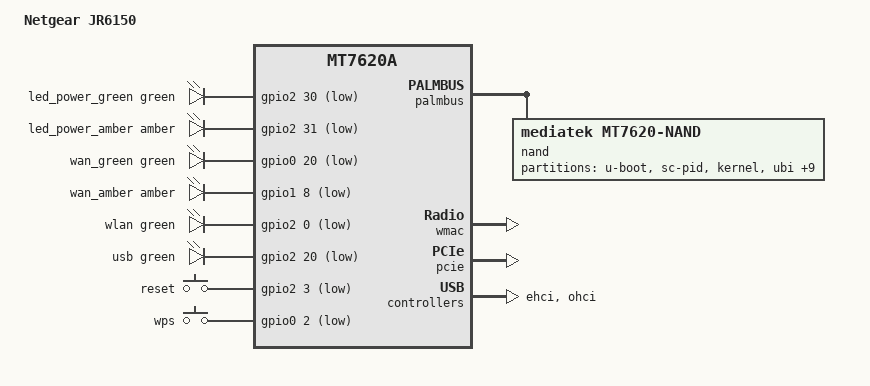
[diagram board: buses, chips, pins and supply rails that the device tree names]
// SPDX-License-Identifier: GPL-2.0-or-later OR MIT

#include "mt7620a.dtsi"

#include <dt-bindings/gpio/gpio.h>
#include <dt-bindings/input/input.h>
#include <dt-bindings/leds/common.h>
#include <dt-bindings/mtd/partitions/uimage.h>

/ {
	compatible = "netgear,jr6150", "ralink,mt7620a-soc";
	model = "Netgear JR6150";

	aliases {
		led-boot = &led_power_green;
		led-failsafe = &led_power_amber;
		led-running = &led_power_green;
		led-upgrade = &led_power_amber;
		label-mac-device = &ethernet;
	};

	chosen {
		bootargs = "console=ttyS0,57600";
	};

	leds {
		compatible = "gpio-leds";

		led_power_green: power_green {
			function = LED_FUNCTION_POWER;
			color = <LED_COLOR_ID_GREEN>;
			gpios = <&gpio2 30 GPIO_ACTIVE_LOW>; /* GPIO 70 */
		};

		led_power_amber: power_amber {
			function = LED_FUNCTION_POWER;
			color = <LED_COLOR_ID_AMBER>;
			gpios = <&gpio2 31 GPIO_ACTIVE_LOW>; /* GPIO 71 */
		};

		wan_green {
			function = LED_FUNCTION_WAN;
			color = <LED_COLOR_ID_GREEN>;
			gpios = <&gpio0 20 GPIO_ACTIVE_LOW>; /* GPIO 20 */
		};

		wan_amber {
			function = LED_FUNCTION_WAN;
			color = <LED_COLOR_ID_AMBER>;
			gpios = <&gpio1 8 GPIO_ACTIVE_LOW>; /* GPIO 30 */
		};

		wlan {
			function = LED_FUNCTION_WLAN;
			color = <LED_COLOR_ID_GREEN>;
			gpios = <&gpio2 0 GPIO_ACTIVE_LOW>; /* GPIO 40 */
			linux,default-trigger = "phy0tpt";
		};

		usb {
			function = LED_FUNCTION_USB;
			color = <LED_COLOR_ID_GREEN>;
			gpios = <&gpio2 20 GPIO_ACTIVE_LOW>; /* GPIO 60 */
			trigger-sources = <&ohci_port1>, <&ehci_port1>;
			linux,default-trigger = "usbport";
		};
	};

	keys {
		compatible = "gpio-keys";

		/*
		 * From power-button.c: SURF_POWER_BUTTON_MASK = 0x8
		 * (bit 3) checked on PIODATA2 register (offset 0x60).
		 * If PIODATA2 maps to GPIO bank 2 (GPIO 40-71), then
		 * the reset/power button is GPIO 43 (gpio2 pin 3).
		 *
		 * NOTE: power-button.c uses non-standard base addresses
		 * (0x300600 vs MT7620's 0x10000600), so this mapping
		 * may be legacy/incorrect. WPS button GPIO not found
		 * in source. Both MUST be verified on actual hardware.
		 */
		reset {
			label = "reset";
			gpios = <&gpio2 3 GPIO_ACTIVE_LOW>; /* GPIO 43 — bit 3 of PIODATA2 */
			linux,code = <KEY_RESTART>;
		};

		wps {
			label = "wps";
			gpios = <&gpio0 2 GPIO_ACTIVE_LOW>; /* TODO: verify on hardware */
			linux,code = <KEY_WPS_BUTTON>;
		};
	};
};

&palmbus {
	nand@810 {
		compatible = "mediatek,mt7620-nand";
		reg = <0x810 0xb0>;

		clocks = <&sysc MT7620_CLK_SPI1>;

		resets = <&sysc 18>;
		reset-names = "nand";

		status = "okay";

		#address-cells = <1>;
		#size-cells = <1>;

		partitions {
			compatible = "fixed-partitions";
			#address-cells = <1>;
			#size-cells = <1>;

			partition@0 {
				label = "u-boot";
				reg = <0x0 0x100000>;
				read-only;
			};

			partition@100000 {
				label = "sc-pid";
				reg = <0x100000 0x100000>;
				read-only;
			};

			partition@200000 {
				label = "kernel";
				reg = <0x200000 0x400000>;
			};

			partition@600000 {
				label = "ubi";
				reg = <0x600000 0x1c00000>;
			};

			/*
			 * Stock firmware layout for reference:
			 *   0x2200000 - 0x2e00000: Language UI packages (6x 2MB)
			 *   0x2e00000 - 0x2f00000: WiFi calibration data
			 *   0x2f00000 - 0x3000000: SC Private Data
			 *   0x3000000+           : Nvram / Reserved blocks
			 */

			partition@2200000 {
				label = "lang";
				reg = <0x2200000 0xc00000>;
				read-only;
			};

			factory: partition@2e00000 {
				label = "factory";
				reg = <0x2e00000 0x100000>;
				read-only;

				nvmem-layout {
					compatible = "fixed-layout";
					#address-cells = <1>;
					#size-cells = <1>;

					eeprom_2g: eeprom@0 {
						reg = <0x0 0x200>;
					};

					eeprom_5g: eeprom@8000 {
						reg = <0x8000 0x200>;
					};

					macaddr_2g: macaddr@4 {
						reg = <0x4 0x6>;
					};

					macaddr_5g: macaddr@8004 {
						reg = <0x8004 0x6>;
					};
				};
			};

			partition@2f00000 {
				label = "sc-private";
				reg = <0x2f00000 0x100000>;
				read-only;
			};

			partition@3000000 {
				label = "pot";
				reg = <0x3000000 0x200000>;
			};

			partition@3200000 {
				label = "traffic-meter";
				reg = <0x3200000 0x200000>;
			};

			partition@3400000 {
				label = "dpf";
				reg = <0x3400000 0x200000>;
			};

			partition@3600000 {
				label = "sc-nvram";
				reg = <0x3600000 0x200000>;
			};

			partition@3800000 {
				label = "ralink-nvram";
				reg = <0x3800000 0x200000>;
			};

			partition@3a00000 {
				label = "reserved";
				reg = <0x3a00000 0x4600000>;
				read-only;
			};
		};
	};
};

&gpio0 {
	status = "okay";
};

&gpio1 {
	status = "okay";
};

&gpio2 {
	status = "okay";
};

&ethernet {
	pinctrl-names = "default";
	pinctrl-0 = <&ephy_pins>;

	nvmem-cells = <&macaddr_2g>;
	nvmem-cell-names = "mac-address";

	mediatek,portmap = "llllw";
};

&gsw {
	ralink,port4 = "ephy";
};

&wmac {
	nvmem-cells = <&eeprom_2g>;
	nvmem-cell-names = "eeprom";
};

&pcie {
	status = "okay";
};

&pcie0 {
	mt76@0,0 {
		reg = <0x0000 0 0 0 0>;
		ieee80211-freq-limit = <5000000 6000000>;
		nvmem-cells = <&eeprom_5g>;
		nvmem-cell-names = "eeprom";
	};
};

&ehci {
	status = "okay";
};

&ohci {
	status = "okay";
};

&state_default {
	gpio {
		groups = "i2c", "uartf";
		function = "gpio";
	};

	nand {
		groups = "nd_sd";
		function = "nand";
	};
};
